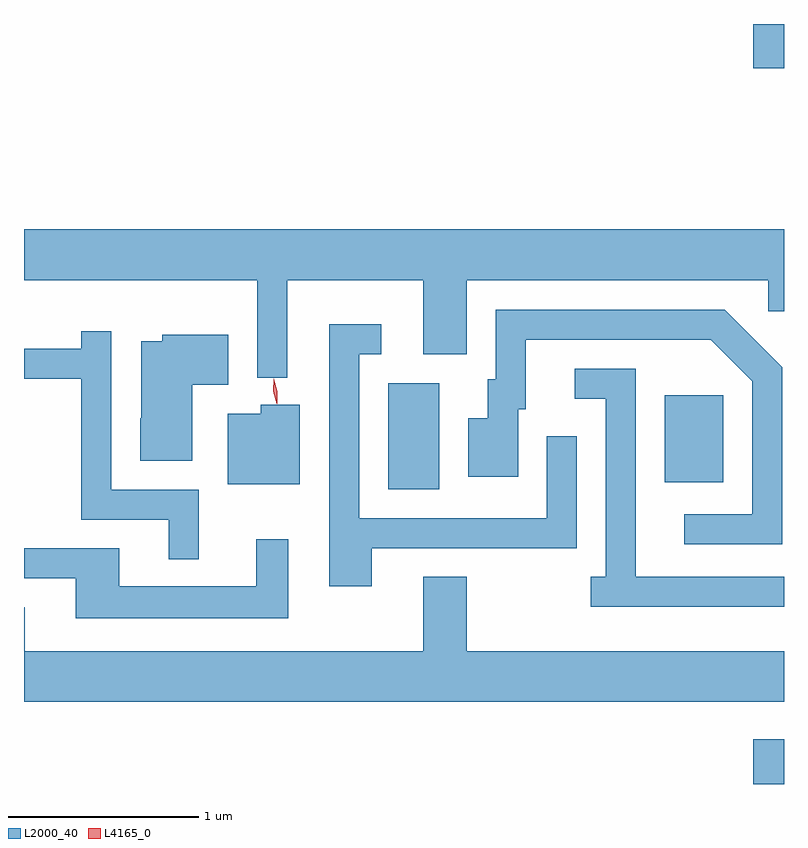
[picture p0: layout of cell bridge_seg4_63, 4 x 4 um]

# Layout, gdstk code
import gdstk
lib = gdstk.Library(unit=1e-6, precision=1e-09)
def R(c, l, rs):  # rectangles x0, y0, x1, y1
    for r in rs: c.add(gdstk.rectangle(r[:2], r[2:], *l))
def P(c, l, *ps):  # polygons
    for p in ps: c.add(gdstk.Polygon(p, *l))
L2000_40 = (2000, 40)
L4165_0 = (4165, 0)

bridge_seg4_63 = lib.new_cell('bridge_seg4_63')
R(bridge_seg4_63, L2000_40, [(1283.116,1358.684,1283.279,1358.919), (1281.196,1360.236,1281.464,1360.794), (1282.651,1360.271,1282.959,1360.729), (1283.116,1362.451,1283.279,1362.684)])
P(bridge_seg4_63, L2000_40, [(1280.664,1361.336),(1281.381,1361.336),(1281.381,1360.946),(1281.609,1360.946),(1281.609,1361.336),(1283.196,1361.336),(1283.196,1361.171),(1283.279,1361.171),(1283.279,1361.604),(1279.279,1361.604),(1279.279,1361.336),(1280.506,1361.336),(1280.506,1360.823),(1280.664,1360.823)],
  [(1283.269,1360.877),(1282.967,1361.179),(1281.761,1361.179),(1281.761,1360.814),(1281.721,1360.814),(1281.721,1360.609),(1281.616,1360.609),(1281.616,1360.301),(1281.879,1360.301),(1281.879,1360.656),(1281.919,1360.656),(1281.919,1361.021),(1282.894,1361.021),(1283.111,1360.804),(1283.111,1360.104),(1282.753,1360.104),(1282.753,1359.946),(1283.269,1359.946)],
  [(1281.109,1359.926),(1282.189,1359.926),(1282.189,1360.513),(1282.031,1360.513),(1282.031,1360.084),(1281.044,1360.084),(1281.044,1360.946),(1281.158,1360.946),(1281.158,1361.104),(1280.886,1361.104),(1280.886,1359.726),(1281.109,1359.726)],
  [(1280.199,1360.234),(1279.739,1360.234),(1279.739,1361.068),(1279.581,1361.068),(1279.581,1360.974),(1279.279,1360.974),(1279.279,1360.816),(1279.581,1360.816),(1279.581,1360.076),(1280.041,1360.076),(1280.041,1359.868),(1280.199,1359.868)],
  [(1280.164,1360.786),(1280.354,1360.786),(1280.354,1361.049),(1280.006,1361.049),(1280.006,1361.014),(1279.896,1361.014),(1279.896,1360.61),(1279.891,1360.61),(1279.891,1360.386),(1280.164,1360.386)],
  [(1283.279,1359.774),(1282.499,1359.774),(1282.499,1360.869),(1282.178,1360.869),(1282.178,1360.711),(1282.341,1360.711),(1282.341,1359.774),(1282.263,1359.774),(1282.263,1359.616),(1283.279,1359.616)],
  [(1280.729,1360.679),(1280.526,1360.679),(1280.526,1360.634),(1280.351,1360.634),(1280.351,1360.261),(1280.729,1360.261)],
  [(1280.669,1359.973),(1280.501,1359.973),(1280.501,1359.724),(1279.779,1359.724),(1279.779,1359.924),(1279.279,1359.924),(1279.279,1359.766),(1279.551,1359.766),(1279.551,1359.556),(1280.669,1359.556)],
  [(1283.279,1359.384),(1281.609,1359.384),(1281.609,1359.774),(1281.381,1359.774),(1281.381,1359.384),(1279.284,1359.384),(1279.284,1359.614),(1279.279,1359.614),(1279.279,1359.116),(1283.279,1359.116)])
P(bridge_seg4_63, L4165_0, [(1280.61,1360.685),(1280.61,1360.686),(1280.592,1360.75),(1280.593,1360.817),(1280.593,1360.818),(1280.594,1360.817),(1280.612,1360.752),(1280.611,1360.686)])

lib.write_gds('bridge_seg4_63.gds')
